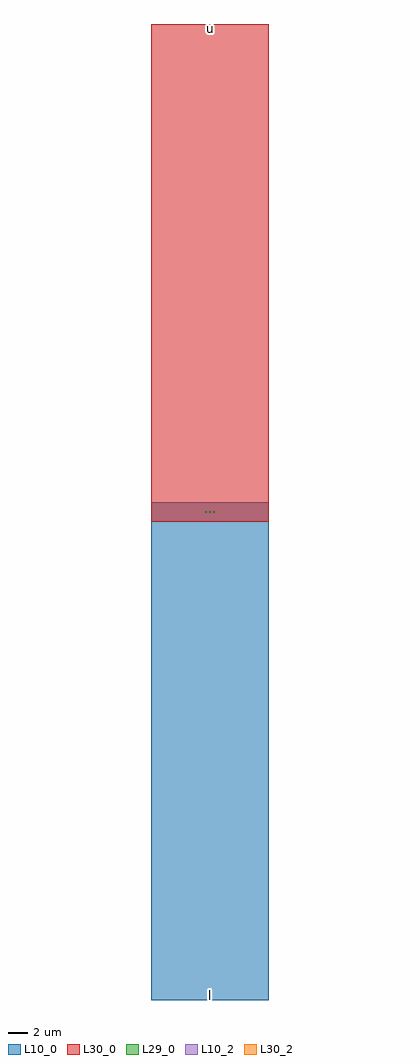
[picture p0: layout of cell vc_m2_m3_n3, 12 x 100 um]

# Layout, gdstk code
import gdstk
lib = gdstk.Library(unit=1e-6, precision=1e-09)
def R(c, l, rs):  # rectangles x0, y0, x1, y1
    for r in rs: c.add(gdstk.rectangle(r[:2], r[2:], *l))
def A(c, l, x, y, w, h, nx, ny, dx, dy):  # array of equal rectangles
    R(c, l, [(x+i*dx, y+j*dy, x+i*dx+w, y+j*dy+h) for i in range(nx) for j in range(ny)])
L10_0 = (10, 0)
L10_2 = (10, 2)
L29_0 = (29, 0)
L30_0 = (30, 0)
L30_2 = (30, 2)

vc_m2_m3_n3 = lib.new_cell('vc_m2_m3_n3')
R(vc_m2_m3_n3, L10_0, [(0,0,12,51)])
R(vc_m2_m3_n3, L10_2, [(5.9,0.4,6.1,0.6)])
A(vc_m2_m3_n3, L29_0, 5.495, 49.905, 0.19, 0.19, 3, 1, 0.41, 0)
R(vc_m2_m3_n3, L30_0, [(0,49,12,100)])
R(vc_m2_m3_n3, L30_2, [(5.9,99.4,6.1,99.6)])
vc_m2_m3_n3.add(gdstk.Label('l', (6,0.5), layer=10, texttype=2))
vc_m2_m3_n3.add(gdstk.Label('u', (6,99.5), layer=30, texttype=2))

lib.write_gds('vc_m2_m3_n3.gds')
